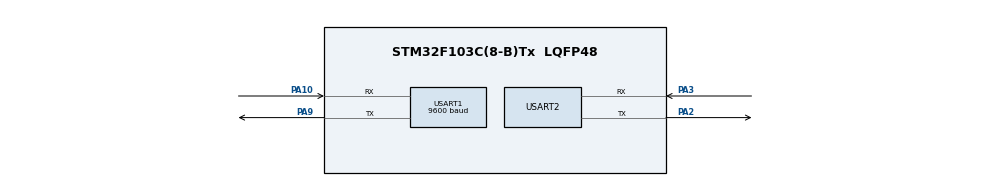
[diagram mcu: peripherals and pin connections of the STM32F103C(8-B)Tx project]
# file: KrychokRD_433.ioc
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Mcu.Family=STM32F1
Mcu.Name=STM32F103C(8-B)Tx
Mcu.Package=LQFP48
NVIC.PriorityGroup=NVIC_PRIORITYGROUP_4
NVIC.USART1_IRQn=true\:0\:0\:false\:false\:true\:true\:true\:true
NVIC.USART2_IRQn=true\:0\:0\:false\:false\:true\:true\:true\:true
PA10.Mode=Asynchronous
PA10.Signal=USART1_RX
PA2.Mode=Asynchronous
PA2.Signal=USART2_TX
PA3.Mode=Asynchronous
PA3.Signal=USART2_RX
PA9.Mode=Asynchronous
PA9.Signal=USART1_TX
ProjectManager.HeapSize=0x200
ProjectManager.StackSize=0x400
ProjectManager.TargetToolchain=STM32CubeIDE
RCC.APB1Freq_Value=8000000
RCC.APB2Freq_Value=8000000
USART1.BaudRate=9600
USART1.StopBits=STOPBITS_2
USART1.VirtualMode=VM_ASYNC
USART2.VirtualMode=VM_ASYNC
VP_SYS_VS_ND.Mode=No_Debug
board=custom

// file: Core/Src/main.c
/* USER CODE BEGIN Header */
/**
  ******************************************************************************
  * @file           : main.c
  * @brief          : Main program body
  ******************************************************************************
  * @attention
  *
  * Copyright (c) 2026 STMicroelectronics.
  * All rights reserved.
  *
  * This software is licensed under terms that can be found in the LICENSE file
  * in the root directory of this software component.
  * If no LICENSE file comes with this software, it is provided AS-IS.
  *
  ******************************************************************************
  */
/* USER CODE END Header */
#include "main.h"

UART_HandleTypeDef huart1;
UART_HandleTypeDef huart2;

/* USER CODE BEGIN PV */
#define BUFFER_SIZE 256U

typedef struct
{
    uint8_t data[BUFFER_SIZE];
    volatile uint16_t head;  // Куда записать следующий байт
    volatile uint16_t tail;  // Откуда взять байт для отправки
} RingBuffer;

static RingBuffer to_usart2;  // Очередь от компьютера к USART2
static RingBuffer to_pc;      // Очередь от USART2 к компьютеру

static uint8_t rx1;           // Байт, принятый через USART1
static uint8_t rx2;           // Байт, принятый через USART2

static volatile uint32_t dropped1;  // Потери при заполнении очереди от USART1
static volatile uint32_t dropped2;  // Потери при заполнении очереди от USART2
/* USER CODE END PV */

void SystemClock_Config(void);
static void MX_GPIO_Init(void);
static void MX_USART1_UART_Init(void);
static void MX_USART2_UART_Init(void);

/* USER CODE BEGIN 0 */
static uint16_t next_index(uint16_t index)
{
    return (uint16_t)((index + 1U) % BUFFER_SIZE);
}

static void buffer_put(RingBuffer *buffer, uint8_t value,
                       volatile uint32_t *dropped)
{
    uint16_t next = next_index(buffer->head);

    if (next == buffer->tail)
    {
        (*dropped)++;
        return;
    }

    buffer->data[buffer->head] = value;
    buffer->head = next;
}
static void send_one(RingBuffer *buffer, UART_HandleTypeDef *uart)
{
    uint16_t tail = buffer->tail;

    if (tail == buffer->head)
    {
        return;  // Очередь пуста
    }

    if (HAL_UART_Transmit(uart, &buffer->data[tail], 1U, 20U) == HAL_OK)
    {
        buffer->tail = next_index(tail);
    }
}
/* USER CODE END 0 */

int main(void)
{

  /* MCU Configuration--------------------------------------------------------*/

  /* Reset of all peripherals, Initializes the Flash interface and the Systick. */
  HAL_Init();

  /* Configure the system clock */
  SystemClock_Config();

  /* Initialize all configured peripherals */
  MX_GPIO_Init();
  MX_USART1_UART_Init();
  MX_USART2_UART_Init();
  /* USER CODE BEGIN 2 */
  if (HAL_UART_Receive_IT(&huart1, &rx1, 1U) != HAL_OK)
  {
      Error_Handler();
  }

  if (HAL_UART_Receive_IT(&huart2, &rx2, 1U) != HAL_OK)
  {
      Error_Handler();
  }
  /* USER CODE END 2 */

  /* Infinite loop */
  while (1)
  {

    /* USER CODE BEGIN 3 */
	    send_one(&to_usart2, &huart2);
	    send_one(&to_pc, &huart1);
  }
  /* USER CODE END 3 */
}

void SystemClock_Config(void)
{
  RCC_OscInitTypeDef RCC_OscInitStruct = {0};
  RCC_ClkInitTypeDef RCC_ClkInitStruct = {0};

  /** Initializes the RCC Oscillators according to the specified parameters
  * in the RCC_OscInitTypeDef structure.
  */
  RCC_OscInitStruct.OscillatorType = RCC_OSCILLATORTYPE_HSI;
  RCC_OscInitStruct.HSIState = RCC_HSI_ON;
  RCC_OscInitStruct.HSICalibrationValue = RCC_HSICALIBRATION_DEFAULT;
  RCC_OscInitStruct.PLL.PLLState = RCC_PLL_NONE;
  if (HAL_RCC_OscConfig(&RCC_OscInitStruct) != HAL_OK)
  {
    Error_Handler();
  }

  /** Initializes the CPU, AHB and APB buses clocks
  */
  RCC_ClkInitStruct.ClockType = RCC_CLOCKTYPE_HCLK|RCC_CLOCKTYPE_SYSCLK
                              |RCC_CLOCKTYPE_PCLK1|RCC_CLOCKTYPE_PCLK2;
  RCC_ClkInitStruct.SYSCLKSource = RCC_SYSCLKSOURCE_HSI;
  RCC_ClkInitStruct.AHBCLKDivider = RCC_SYSCLK_DIV1;
  RCC_ClkInitStruct.APB1CLKDivider = RCC_HCLK_DIV1;
  RCC_ClkInitStruct.APB2CLKDivider = RCC_HCLK_DIV1;

  if (HAL_RCC_ClockConfig(&RCC_ClkInitStruct, FLASH_LATENCY_0) != HAL_OK)
  {
    Error_Handler();
  }
}

static void MX_USART1_UART_Init(void)
{

  huart1.Instance = USART1;
  huart1.Init.BaudRate = 9600;
  huart1.Init.WordLength = UART_WORDLENGTH_8B;
  huart1.Init.StopBits = UART_STOPBITS_2;
  huart1.Init.Parity = UART_PARITY_NONE;
  huart1.Init.Mode = UART_MODE_TX_RX;
  huart1.Init.HwFlowCtl = UART_HWCONTROL_NONE;
  huart1.Init.OverSampling = UART_OVERSAMPLING_16;
  if (HAL_UART_Init(&huart1) != HAL_OK)
  {
    Error_Handler();
  }

}

static void MX_USART2_UART_Init(void)
{

  huart2.Instance = USART2;
  huart2.Init.BaudRate = 115200;
  huart2.Init.WordLength = UART_WORDLENGTH_8B;
  huart2.Init.StopBits = UART_STOPBITS_1;
  huart2.Init.Parity = UART_PARITY_NONE;
  huart2.Init.Mode = UART_MODE_TX_RX;
  huart2.Init.HwFlowCtl = UART_HWCONTROL_NONE;
  huart2.Init.OverSampling = UART_OVERSAMPLING_16;
  if (HAL_UART_Init(&huart2) != HAL_OK)
  {
    Error_Handler();
  }

}

static void MX_GPIO_Init(void)
{

  /* GPIO Ports Clock Enable */
  __HAL_RCC_GPIOA_CLK_ENABLE();

}

/* USER CODE BEGIN 4 */
void HAL_UART_RxCpltCallback(UART_HandleTypeDef *huart)
{
    if (huart == &huart1)
    {
        buffer_put(&to_usart2, rx1, &dropped1);
        HAL_UART_Receive_IT(&huart1, &rx1, 1U);
    }
    else if (huart == &huart2)
    {
        buffer_put(&to_pc, rx2, &dropped2);
        HAL_UART_Receive_IT(&huart2, &rx2, 1U);
    }
}
/* USER CODE END 4 */

void Error_Handler(void)
{
  __disable_irq();
  while (1)
  {
  }
}
